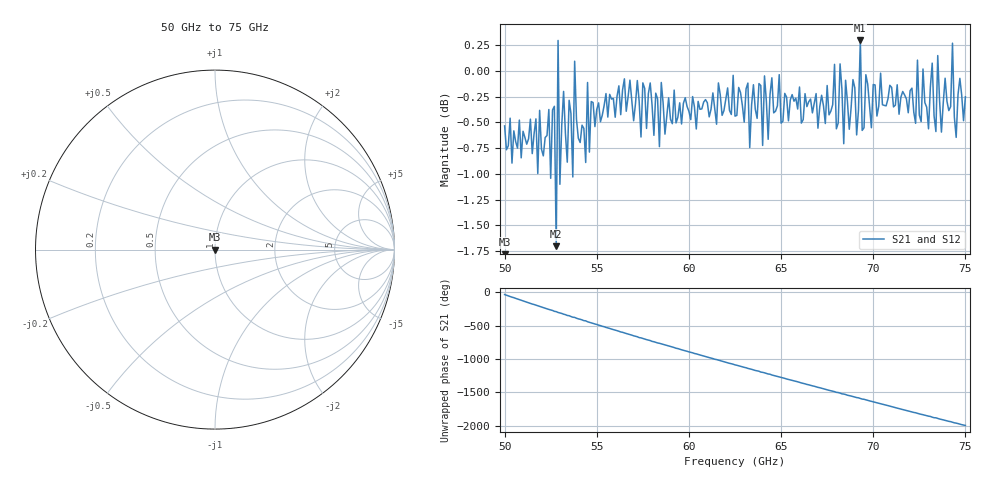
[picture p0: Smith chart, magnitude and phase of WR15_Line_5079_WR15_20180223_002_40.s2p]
# GHZ S RI R 50
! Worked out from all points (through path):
!   251 points, 50 GHz to 75 GHz, reference 50 ohm
!   highest |S21| = 0.29 dB at 69.3 GHz (marker M1); lowest = -1.7 dB at 52.8 GHz (marker M2)
!   lowest |S11| = - dB at 50 GHz (marker M3), VSWR 1.00, Z = 50 - j1.04e-15 ohm
!   |S11| at or under -10 dB: start of sweep to end of sweep
!   |S22| runs from - to - dB; largest |S21 - S12| = 2e-15
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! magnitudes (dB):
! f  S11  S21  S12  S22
! 50 GHz  -  -0.5  -0.5  -
! 52.4 GHz  -  -0.4  -0.4  -
! 52.5 GHz  -  -1.0  -1.0  -
! 52.7 GHz  -  -0.3  -0.3  -
! 52.8 GHz  -  -1.7  -1.7  -
! 52.9 GHz  -  0.3  0.3  -
! 53 GHz  -  -1.1  -1.1  -
! 53.2 GHz  -  -0.2  -0.2  -
! 53.7 GHz  -  -1.0  -1.0  -
! 53.8 GHz  -  0.1  0.1  -
! 54.2 GHz  -  -0.5  -0.5  -
! 58.4 GHz  -  -0.7  -0.7  -
! 58.5 GHz  -  -0.1  -0.1  -
! 62.5 GHz  -  -0.4  -0.4  -
! 66.7 GHz  -  -0.4  -0.4  -
! 68.2 GHz  -  0.1  0.1  -
! 68.4 GHz  -  -0.7  -0.7  -
! 69.1 GHz  -  -0.6  -0.6  -
! 69.3 GHz  -  0.3  0.3  -
! 69.4 GHz  -  -0.6  -0.6  -
! 70.9 GHz  -  -0.1  -0.1  -
! 75 GHz  -  -0.3  -0.3  -
